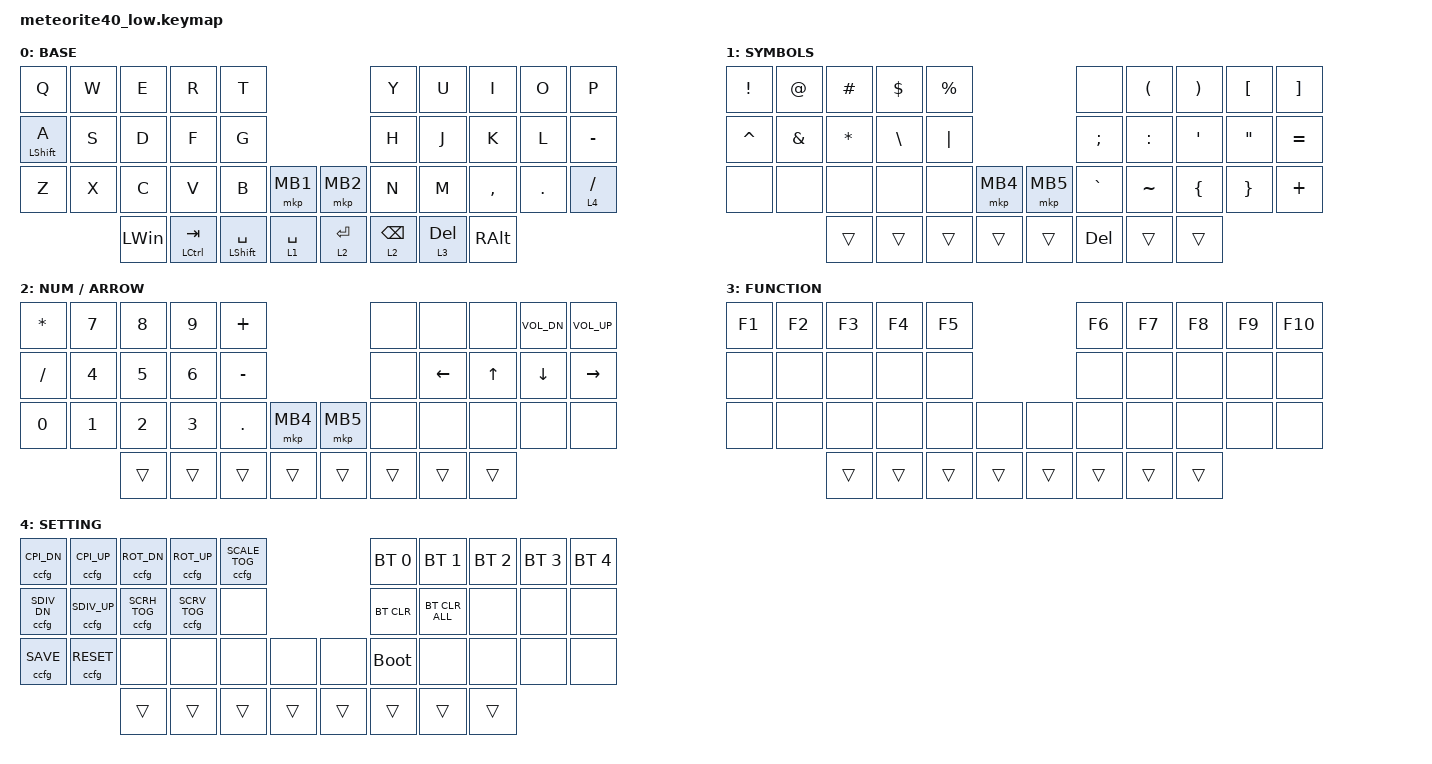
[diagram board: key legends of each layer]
#include <behaviors.dtsi>
#include <dt-bindings/zmk/bt.h>
#include <dt-bindings/zmk/keys.h>
#include <dt-bindings/zmk/pointing.h>

#include <behaviors/custom_config.dtsi>
#include <behaviors/meteorite_custom_key.dtsi>
#include <behaviors/meteorite_bt_os.dtsi>
#include <behaviors/meteorite_mod_key.dtsi>
#include <behaviors/meteorite_os_key.dtsi>
#include <behaviors/meteorite_smart_toggle.dtsi>
#include <dt-bindings/zmk/custom_config.h>
#include <dt-bindings/zmk/meteorite_custom_keys.h>
#include <dt-bindings/zmk/meteorite_bt_os.h>

&mt { 
    flavor = "tap-preferred"; // change hold to tap
    tapping-term-ms = <200>;
    quick-tap-ms = <150>; // change 200 to 150
};

&lt {
    flavor = "tap-preferred";
    tapping-term-ms = <150>; // change 200 to 150
    quick-tap-ms = <150>; // change 200 to 150
};

&mst {
    alt-cmd-tab = <&alt_cmd_tab>;
};

/ {
    behaviors {
        mck_mt: mck_mt {
            compatible = "zmk,behavior-hold-tap";
            #binding-cells = <2>;
            flavor = "tap-preferred";
            tapping-term-ms = <150>;
            bindings = <&mck>, <&kp>;
            display-name = "meteorite mod-tap (OS key + key)";
        };

        mck_mt_st: mck_mt_st {
            compatible = "zmk,behavior-hold-tap";
            #binding-cells = <2>;
            flavor = "tap-preferred";
            tapping-term-ms = <150>;
            bindings = <&mck>, <&mst>;
            display-name = "meteorite mod-tap (OS key + smart toggle)";
        };

        alt_cmd_tab: alt_cmd_tab {
            compatible = "zmk,behavior-smart-toggle";
            #binding-cells = <0>;
            bindings = <&mck M_OS_ALT_CMD>, <&kp TAB>;
            position-bindings = <12 13>; /* D, F */
            position-binding-behaviors = <&kp LEFT>, <&kp RIGHT>;
        };
    };

    combos {
        compatible = "zmk,combos";

        lang1 {
            bindings = <&kp LANG1>;
            key-positions = <12 13>; /* D + F */
            layers = <0>;
        };

        lang2 {
            bindings = <&kp LANG2>;
            key-positions = <16 17>; /* J + K */
            layers = <0>;
        };

        esc {
            bindings = <&kp ESCAPE>;
            key-positions = <20 21>; /* Z + X */
            layers = <0>;
        };

        tab {
            bindings = <&kp TAB>;
            key-positions = <0 1>; /* Q + W */
            layers = <0>;
        };

        line_home {
            bindings = <&mosk HOME LG(LEFT)>;
            key-positions = <16 17>; /* J + K (on layer 2) */
            layers = <2>;
        };

        line_end {
            bindings = <&mosk END LG(RIGHT)>;
            key-positions = <18 19>; /* L + - (on layer 2) */
            layers = <2>;
        };

        doc_home {
            bindings = <&mosk LC(HOME) LG(UP)>;
            key-positions = <16 18>; /* J + L (on layer 2) */
            layers = <2>;
        };

        doc_end {
            bindings = <&mosk LC(END) LG(DOWN)>;
            key-positions = <17 19>; /* K + - (on layer 2) */
            layers = <2>;
        };
    };

    keymap {
        compatible = "zmk,keymap";
        layout = &LOW_PROFILE_DEFAULT;

        win_default_layer {
            display-name = "BASE";
            bindings = <
                &kp Q        &kp W       &kp E        &kp R        &kp T                                 &kp Y        &kp U       &kp I       &kp O  &kp P
                &mt LSHIFT A &kp S       &kp D        &kp F        &kp G                                 &kp H        &kp J       &kp K       &kp L  &kp MINUS
                &kp Z        &kp X       &kp C        &kp V        &kp B        &mkp MB1     &mkp MB2    &kp N        &kp M       &kp COMMA   &kp DOT  &lt 4 SLASH
                                    &kp LWIN  &mt LCTRL TAB  &mt LSHIFT SPACE  &lt 1 SPACE  &lt 2 ENTER  &lt 2 BSPC  &lt 3 DEL  &kp RALT
            >;
        };

        layer_1 {
            display-name = "SYMBOLS";
            bindings = <
                &kp EXCL   &kp AT    &kp HASH  &kp DLLR  &kp PRCNT                       &none      &kp LPAR   &kp RPAR   &kp LBKT   &kp RBKT
                &kp CARET  &kp AMPS  &kp STAR  &kp BSLH  &kp PIPE                        &kp SEMI   &kp COLON  &kp SQT    &kp DQT    &kp EQUAL
                &none      &none     &none     &none     &none      &mkp MB4  &mkp MB5   &kp GRAVE  &kp TILDE  &kp LBRC   &kp RBRC   &kp PLUS
                                     &trans     &trans    &trans    &trans    &trans     &kp DEL    &trans     &trans
            >;
        };

        layer_2 {
            display-name = "NUM / ARROW";
            bindings = <
                &kp ASTRK        &kp N7     &kp N8     &kp N9     &kp PLUS                        &none  &none     &none   &kp C_VOL_DN &kp C_VOL_UP
                &kp SLASH        &kp N4     &kp N5     &kp N6     &kp MINUS                       &none  &kp LEFT  &kp UP  &kp DOWN     &kp RIGHT
                &kp N0           &kp N1     &kp N2     &kp N3     &kp DOT   &mkp MB4   &mkp MB5   &none  &none     &none   &none        &none
                                        &trans           &trans     &trans     &trans    &trans        &trans  &trans    &trans
            >;
        };

        layer_3 {
            display-name = "FUNCTION";
            bindings = <
                &kp F1  &kp F2  &kp F3  &kp F4  &kp F5                  &kp F6  &kp F7  &kp F8  &kp F9  &kp F10
                &none   &none   &none   &none   &none                   &none   &none   &none   &none   &none
                &none   &none   &none   &none   &none   &none   &none   &none   &none   &none    &none  &none
                                &trans  &trans  &trans  &trans  &trans  &trans  &trans  &trans
            >;
        };

        layer_4 {
			display-name = "SETTING";
			bindings = <
				&ccfg C_CPI_DN  &ccfg C_CPI_UP  &ccfg C_ROT_DN   &ccfg C_ROT_UP   &ccfg C_SCALE_TOG                 &bt BT_SEL 0   &bt BT_SEL 1    &bt BT_SEL 2  &bt BT_SEL 3  &bt BT_SEL 4
				&ccfg C_SDIV_DN &ccfg C_SDIV_UP &ccfg C_SCRH_TOG &ccfg C_SCRV_TOG &none                             &bt BT_CLR     &bt BT_CLR_ALL  &none         &none         &none
				&ccfg C_SAVE    &ccfg C_RESET   &none            &none            &none             &none  &none    &bootloader    &none           &none         &none         &none
												                    &trans       &trans  &trans  &trans  &trans  &trans    &trans        &trans
			>;
        };
    };
};




